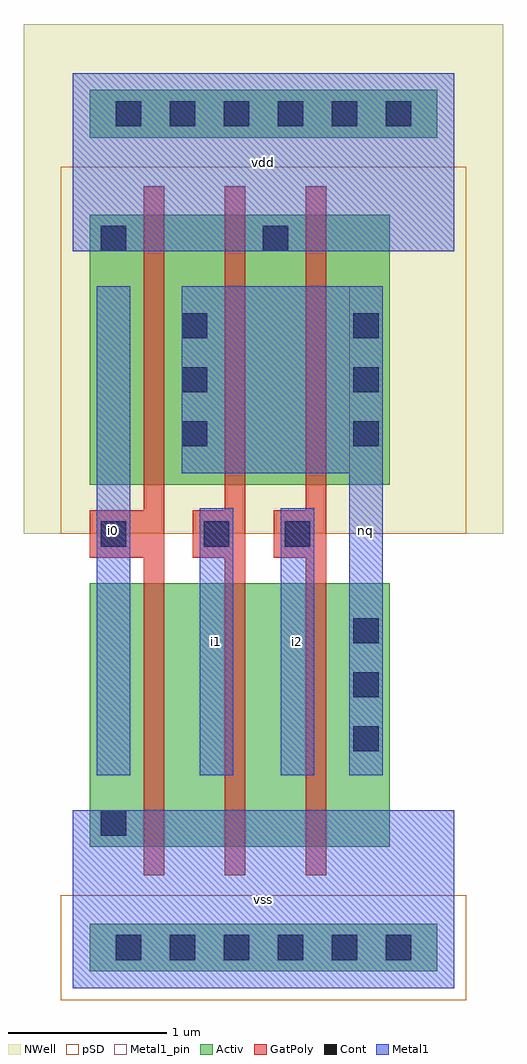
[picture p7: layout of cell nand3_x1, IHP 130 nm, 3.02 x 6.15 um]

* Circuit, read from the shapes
.subckt nand3_x1 i0 i1 i2 nq vdd vss
XM1 n1 i0 vss vss sg13_lv_nmos w=1.66u l=0.13u
XM2 n2 i1 n1 vss sg13_lv_nmos w=1.66u l=0.13u
XM3 nq i2 n2 vss sg13_lv_nmos w=1.66u l=0.13u
XM4 nq i0 vdd vdd sg13_lv_pmos w=1.7u l=0.13u
XM5 vdd i1 nq vdd sg13_lv_pmos w=1.7u l=0.13u
XM6 nq i2 vdd vdd sg13_lv_pmos w=1.7u l=0.13u
.ends

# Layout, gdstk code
import gdstk
lib = gdstk.Library(unit=1e-6, precision=1e-09)
def R(c, l, rs):  # rectangles x0, y0, x1, y1
    for r in rs: c.add(gdstk.rectangle(r[:2], r[2:], *l))
def A(c, l, x, y, w, h, nx, ny, dx, dy):  # array of equal rectangles
    R(c, l, [(x+i*dx, y+j*dy, x+i*dx+w, y+j*dy+h) for i in range(nx) for j in range(ny)])
def P(c, l, *ps):  # polygons
    for p in ps: c.add(gdstk.Polygon(p, *l))
Activ = (1, 0)
GatPoly = (5, 0)
Cont = (6, 0)
Metal1 = (8, 0)
Metal1_pin = (8, 2)
pSD = (14, 0)
NWell = (31, 0)

nand3_x1 = lib.new_cell('nand3_x1')
R(nand3_x1, Activ, [(0.105,0.105,2.295,0.405), (0.105,0.89,1.995,2.55), (0.105,3.17,1.995,4.87), (0.105,5.355,2.295,5.655)])
P(nand3_x1, GatPoly, [(0.445,0.71),(0.445,2.71),(0.105,2.71),(0.105,3.01),(0.445,3.01),(0.445,5.05),(0.575,5.05),(0.575,0.71)],
  [(0.955,0.71),(0.955,2.71),(0.755,2.71),(0.755,3.01),(0.955,3.01),(0.955,5.05),(1.085,5.05),(1.085,0.71)],
  [(1.465,0.71),(1.465,2.71),(1.265,2.71),(1.265,3.01),(1.465,3.01),(1.465,5.05),(1.595,5.05),(1.595,0.71)])
A(nand3_x1, Cont, 0.27, 0.175, 0.16, 0.16, 6, 2, 0.34, 5.25)
A(nand3_x1, Cont, 1.765, 1.49, 0.16, 0.16, 1, 3, 0, 0.34)
A(nand3_x1, Cont, 0.685, 3.41, 0.16, 0.16, 1, 3, 0, 0.34)
A(nand3_x1, Cont, 1.765, 3.41, 0.16, 0.16, 1, 3, 0, 0.34)
R(nand3_x1, Cont, [(0.175,0.96,0.335,1.12), (0.175,2.78,0.335,2.94), (0.825,2.78,0.985,2.94), (1.335,2.78,1.495,2.94), (0.175,4.64,0.335,4.8), (1.195,4.64,1.355,4.8)])
R(nand3_x1, Metal1, [(0,0,2.4,1.12), (0.15,1.34,0.36,4.42), (0.8,1.34,1.01,3.02), (1.31,1.34,1.52,3.02), (0,4.64,2.4,5.76)])
P(nand3_x1, Metal1, [(1.74,1.34),(1.74,3.24),(0.685,3.24),(0.685,4.42),(1.95,4.42),(1.95,1.34)])
R(nand3_x1, Metal1_pin, [(0,0,2.4,1.12), (0.15,1.34,0.36,4.42), (0.8,1.34,1.01,3.02), (1.31,1.34,1.52,3.02), (1.74,1.34,1.95,4.42), (0,4.64,2.4,5.76)])
R(nand3_x1, pSD, [(-0.075,-0.075,2.475,0.585), (-0.075,2.86,2.475,5.17)])
R(nand3_x1, NWell, [(-0.31,2.86,2.71,6.07)])
nand3_x1.add(gdstk.Label('vss', (1.2,0.56), layer=8, texttype=2))
nand3_x1.add(gdstk.Label('vdd', (1.2,5.2), layer=8, texttype=2))
nand3_x1.add(gdstk.Label('i0', (0.255,2.88), layer=8, texttype=2))
nand3_x1.add(gdstk.Label('nq', (1.845,2.88), layer=8, texttype=2))
nand3_x1.add(gdstk.Label('i1', (0.905,2.18), layer=8, texttype=2))
nand3_x1.add(gdstk.Label('i2', (1.415,2.18), layer=8, texttype=2))

lib.write_gds('nand3_x1.gds')
